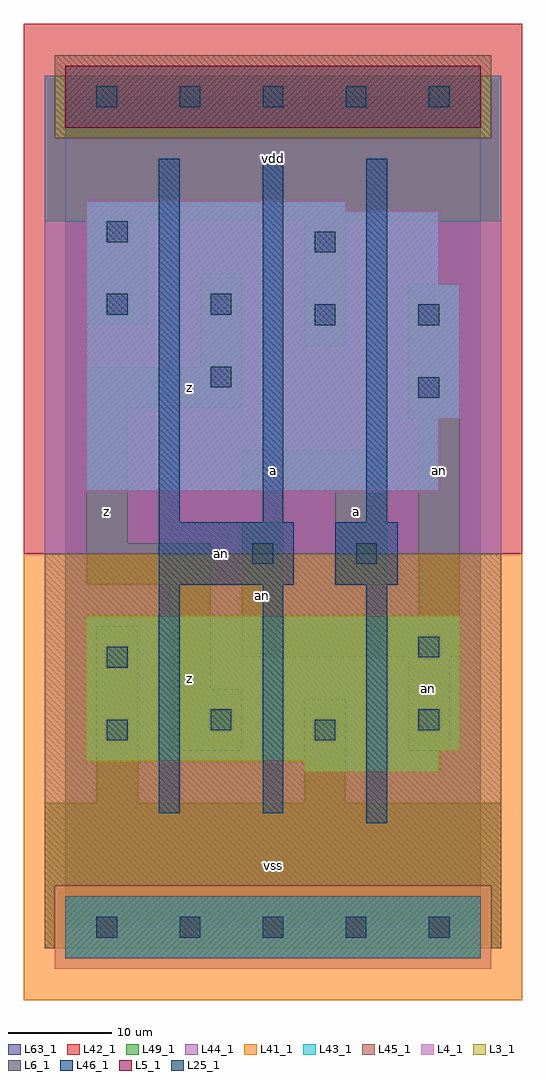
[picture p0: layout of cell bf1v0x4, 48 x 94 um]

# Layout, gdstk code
import gdstk
lib = gdstk.Library(unit=1e-6, precision=1e-09)
def R(c, l, rs):  # rectangles x0, y0, x1, y1
    for r in rs: c.add(gdstk.rectangle(r[:2], r[2:], *l))
def A(c, l, x, y, w, h, nx, ny, dx, dy):  # array of equal rectangles
    R(c, l, [(x+i*dx, y+j*dy, x+i*dx+w, y+j*dy+h) for i in range(nx) for j in range(ny)])
L3_1 = (3, 1)
L4_1 = (4, 1)
L5_1 = (5, 1)
L6_1 = (6, 1)
L25_1 = (25, 1)
L41_1 = (41, 1)
L42_1 = (42, 1)
L43_1 = (43, 1)
L44_1 = (44, 1)
L45_1 = (45, 1)
L46_1 = (46, 1)
L49_1 = (49, 1)
L63_1 = (63, 1)

bf1v0x4 = lib.new_cell('bf1v0x4')
R(bf1v0x4, L3_1, [(23,15,36,16), (2,16,36,17), (2,17,38,30)])
R(bf1v0x4, L4_1, [(2,42,36,49), (2,49,38,62), (2,62,36,69), (2,69,27,70)])
R(bf1v0x4, L5_1, [(0,77,40,83)])
R(bf1v0x4, L6_1, [(0,-3,40,3), (0,-3,40,3)])
A(bf1v0x4, L25_1, 3, -1, 2, 2, 5, 2, 8, 80)
R(bf1v0x4, L25_1, [(4,18,6,20), (24,18,26,20), (14,19,16,21), (34,19,36,21), (4,25,6,27), (34,26,36,28), (18,35,20,37), (28,35,30,37), (34,51,36,53), (14,52,16,54), (24,58,26,60), (34,58,36,60), (4,59,6,61), (14,59,16,61), (24,65,26,67), (4,66,6,68)])
R(bf1v0x4, L41_1, [(-4,-7,44,36)])
R(bf1v0x4, L42_1, [(-4,36,44,87)])
R(bf1v0x4, L43_1, [(0,-3,40,3), (23,15,36,16), (2,16,36,17), (2,17,38,30), (2,42,36,49), (2,49,38,62), (2,62,36,69), (2,69,27,70), (0,77,40,83)])
R(bf1v0x4, L44_1, [(-1,-4,41,4), (-2,36,42,76), (-2,76,-1,82), (41,76,42,82)])
R(bf1v0x4, L45_1, [(-2,-2,-1,4), (41,-2,42,4), (-2,4,42,36), (-1,76,41,84)])
A(bf1v0x4, L46_1, 9, 39, 2, 35, 3, 1, 10, 0)
R(bf1v0x4, L46_1, [(29,10,31,33), (9,11,11,33), (19,11,21,33), (9,33,22,39), (26,33,32,39)])
R(bf1v0x4, L49_1, [(-2,-2,42,12), (3,12,7,29), (23,12,27,22), (10,17,17,23), (33,17,37,26), (10,23,14,33), (17,26,38,30), (17,30,21,39), (34,30,38,49), (2,33,14,37), (26,33,31,42), (2,37,6,50), (17,42,31,46), (33,49,38,62), (2,50,17,54), (13,54,17,63), (23,56,27,68), (2,58,8,68), (-2,68,42,82)])
R(bf1v0x4, L63_1, [(0,0,40,80)])
bf1v0x4.add(gdstk.Label('an', (15,36), layer=46, texttype=1))
bf1v0x4.add(gdstk.Label('z', (4,40), layer=49, texttype=1))
bf1v0x4.add(gdstk.Label('z', (12,24), layer=49, texttype=1))
bf1v0x4.add(gdstk.Label('z', (12,52), layer=49, texttype=1))
bf1v0x4.add(gdstk.Label('vss', (20,6), layer=49, texttype=1))
bf1v0x4.add(gdstk.Label('an', (19,32), layer=49, texttype=1))
bf1v0x4.add(gdstk.Label('a', (28,40), layer=49, texttype=1))
bf1v0x4.add(gdstk.Label('a', (20,44), layer=49, texttype=1))
bf1v0x4.add(gdstk.Label('vdd', (20,74), layer=49, texttype=1))
bf1v0x4.add(gdstk.Label('an', (35,23), layer=49, texttype=1))
bf1v0x4.add(gdstk.Label('an', (36,44), layer=49, texttype=1))

lib.write_gds('bf1v0x4.gds')
